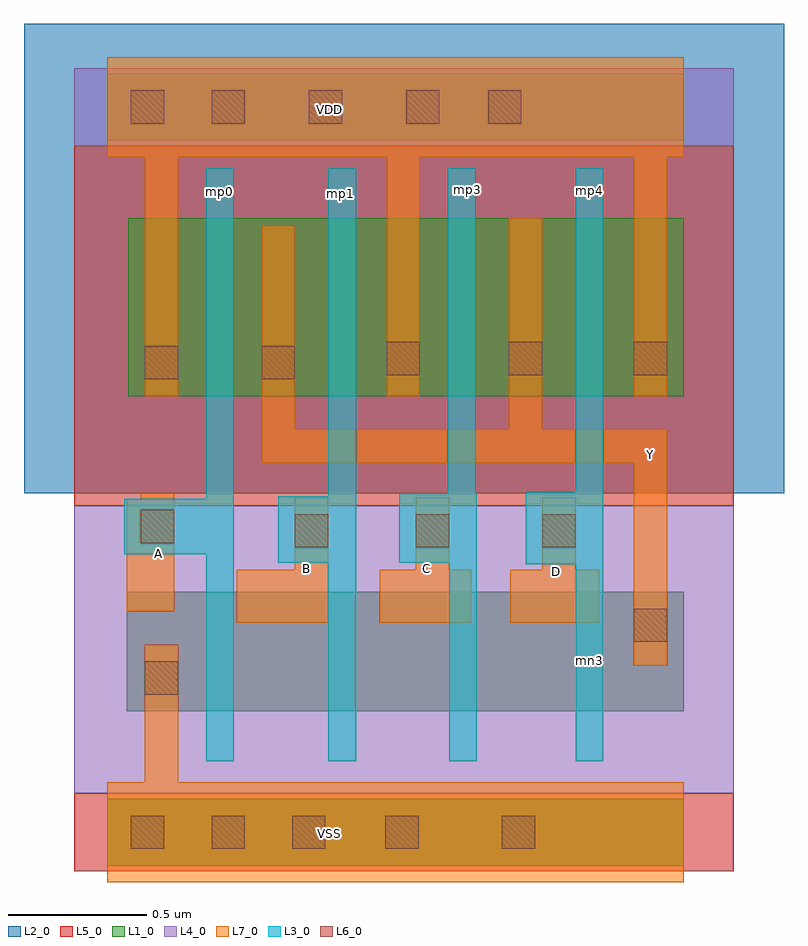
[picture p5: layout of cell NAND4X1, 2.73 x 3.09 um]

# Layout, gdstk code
import gdstk
lib = gdstk.Library(unit=1e-6, precision=1e-09)
def R(c, l, rs):  # rectangles x0, y0, x1, y1
    for r in rs: c.add(gdstk.rectangle(r[:2], r[2:], *l))
def A(c, l, x, y, w, h, nx, ny, dx, dy):  # array of equal rectangles
    R(c, l, [(x+i*dx, y+j*dy, x+i*dx+w, y+j*dy+h) for i in range(nx) for j in range(ny)])
def P(c, l, *ps):  # polygons
    for p in ps: c.add(gdstk.Polygon(p, *l))
L1_0 = (1, 0)
L2_0 = (2, 0)
L3_0 = (3, 0)
L4_0 = (4, 0)
L5_0 = (5, 0)
L6_0 = (6, 0)
L7_0 = (7, 0)

nand4x1 = lib.new_cell('NAND4X1')
R(nand4x1, L1_0, [(0.3,-0.625,2.375,-0.385), (0.37,-0.07,2.375,0.36), (0.375,1.065,2.375,1.705), (0.3,1.985,2.375,2.225)])
R(nand4x1, L2_0, [(0,0.715,2.735,2.405)])
R(nand4x1, L3_0, [(0.655,-0.25,0.755,0.495), (0.36,0.495,0.755,0.695), (0.655,0.695,0.755,1.885)])
P(nand4x1, L3_0, [(1.985,-0.25),(1.985,0.46),(1.805,0.46),(1.805,0.72),(1.985,0.72),(1.985,1.885),(2.085,1.885),(2.085,-0.25)],
  [(1.53,-0.25),(1.53,0.465),(1.35,0.465),(1.35,0.715),(1.525,0.715),(1.525,1.885),(1.625,1.885),(1.625,0.715),(1.63,0.715),(1.63,-0.25)],
  [(1.095,-0.25),(1.095,0.465),(0.915,0.465),(0.915,0.705),(1.095,0.705),(1.095,1.885),(1.195,1.885),(1.195,-0.25)])
R(nand4x1, L4_0, [(0.18,-0.365,2.555,0.67), (0.18,1.965,2.555,2.245)])
R(nand4x1, L5_0, [(0.18,-0.645,2.555,-0.365), (0.18,0.67,2.555,1.965)])
A(nand4x1, L6_0, 0.385, -0.565, 0.12, 0.12, 3, 1, 0.29, 0)
A(nand4x1, L6_0, 0.675, 2.045, 0.12, 0.12, 3, 1, 0.35, 0)
R(nand4x1, L6_0, [(1.3,-0.565,1.42,-0.445), (1.72,-0.565,1.84,-0.445), (0.435,-0.01,0.555,0.11), (2.195,0.18,2.315,0.3), (0.975,0.52,1.095,0.64), (1.41,0.52,1.53,0.64), (1.865,0.52,1.985,0.64), (0.42,0.535,0.54,0.655), (0.435,1.125,0.555,1.245), (0.855,1.125,0.975,1.245), (1.305,1.14,1.425,1.26), (1.745,1.14,1.865,1.26), (2.195,1.14,2.315,1.26), (0.385,2.045,0.505,2.165), (1.67,2.045,1.79,2.165)])
R(nand4x1, L7_0, [(0.3,-0.685,2.375,-0.325), (0.435,-0.325,0.555,0.17), (2.195,0.095,2.315,0.135), (0.765,0.25,1.095,0.44), (1.28,0.25,1.61,0.44), (1.75,0.25,2.07,0.44), (0.37,0.29,0.54,0.695), (1.41,0.355,1.53,0.7), (1.865,0.36,1.985,0.7), (0.975,0.39,1.095,0.7), (0.42,0.695,0.54,0.715), (0.855,0.945,0.975,1.68), (1.745,0.945,1.865,1.705), (0.435,1.065,0.555,1.97), (1.305,1.065,1.425,1.97), (2.195,1.065,2.315,1.97), (0.3,1.925,2.375,2.285)])
nand4x1.add(gdstk.FlexPath([(0.855,0.885),(2.255,0.885),(2.255,0.135)], 0.12, ends="flush", simple_path=True, layer=7, datatype=0))  # L7_0
nand4x1.add(gdstk.Label('Y', (2.255,0.855), layer=7, texttype=251))
nand4x1.add(gdstk.Label('D', (1.915,0.435), layer=7, texttype=251))
nand4x1.add(gdstk.Label('C', (1.45,0.445), layer=7, texttype=251))
nand4x1.add(gdstk.Label('VDD', (1.1,2.095), layer=7, texttype=251))
nand4x1.add(gdstk.Label('VSS', (1.1,-0.51), layer=7, texttype=251))
nand4x1.add(gdstk.Label('A', (0.485,0.5), layer=7, texttype=251))
nand4x1.add(gdstk.Label('B', (1.015,0.445), layer=7, texttype=251))
nand4x1.add(gdstk.Label('mn3', (2.035,0.115), layer=67, texttype=2))
nand4x1.add(gdstk.Label('mp4', (2.035,1.805), layer=67, texttype=2))
nand4x1.add(gdstk.Label('mp3', (1.595,1.81), layer=67, texttype=2))
nand4x1.add(gdstk.Label('mp1', (1.14,1.795), layer=67, texttype=2))
nand4x1.add(gdstk.Label('mp0', (0.705,1.8), layer=67, texttype=2))

lib.write_gds('NAND4X1.gds')
